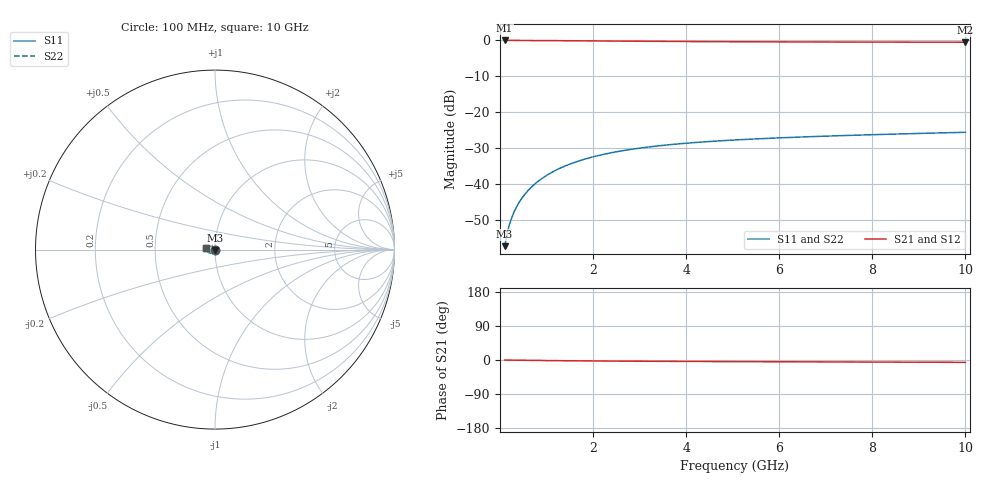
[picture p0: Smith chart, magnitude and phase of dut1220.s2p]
! Touchstone file exported from HFSS 2024.1.0
!  File:  C:/UserFiles/LocalFiles/RDL_TSV_Batchsim/temp_TSV1_1220_1780249372.aedt
!  Generated:  01:48:08 AM Jun  1, 2026
!  Design:  TSV1
!  Project:  temp_TSV1_1220_1780249372
!  Setup:  Setup1
!  Solution:  Sweep
! Variables:
!  dtsv = 9.72um
!  hbump = 3um
!  htsv = 97.35um
!  lrdl = 252.1521522um
!  p = 40
!  p1 = 55.36um
!  t = 500um
!  trdl = 3um
!  wrdl = 24.89489489um
# GHz S MA R 50.000000
! Terminal data exported
! Port[1] = TSV22_T1
! Port[2] = TSV22_T2
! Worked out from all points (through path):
!   100 points, 100 MHz to 10 GHz, reference 50 ohm
!   highest |S21| = 0.00 dB at 100 MHz (marker M1); lowest = -0.5 dB at 10 GHz (marker M2)
!   lowest |S11| = -57.2 dB at 100 MHz (marker M3), VSWR 1.00, Z = 50 - j0.137 ohm
!   |S11| at or under -10 dB: start of sweep to end of sweep
!   |S22| runs from -57.2 to -25.6 dB; largest |S21 - S12| = 4.2e-15
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0.1  0.001375 -84.7  0.9998 -0.1  0.9998 -0.1  0.001375 -84.7
! Gamma 0 0 0 0
! Port Impedance 50 0 50 0
0.2  0.002734 -90.2  0.9996 -0.3  0.9996 -0.3  0.002734 -90.2
0.3  0.004094 -93.3  0.9994 -0.4  0.9994 -0.4  0.004094 -93.3
0.4  0.005449 -95.8  0.999 -0.6  0.999 -0.6  0.005449 -95.8
0.5  0.006794 -98.1  0.9986 -0.7  0.9986 -0.7  0.006794 -98.1
0.6  0.008125 -100.3  0.9981 -0.9  0.9981 -0.9  0.008125 -100.3
0.7  0.009438 -102.4  0.9975 -1.0  0.9975 -1.0  0.009438 -102.4
0.8  0.01073 -104.5  0.9968 -1.1  0.9968 -1.1  0.01073 -104.5
0.9  0.012 -106.5  0.9961 -1.3  0.9961 -1.3  0.012 -106.5
1.1  0.01446 -110.4  0.9945 -1.5  0.9945 -1.5  0.01446 -110.4
1.4  0.01793 -115.9  0.9917 -1.9  0.9917 -1.9  0.01793 -115.9
1.6  0.02009 -119.4  0.9897 -2.1  0.9897 -2.1  0.02009 -119.4
1.8  0.02212 -122.8  0.9876 -2.3  0.9876 -2.3  0.02212 -122.8
2.1  0.02493 -127.6  0.9844 -2.6  0.9844 -2.6  0.02493 -127.6
2.5  0.02824 -133.5  0.9802 -2.9  0.9802 -2.9  0.02824 -133.5
2.9  0.03111 -139.0  0.9762 -3.2  0.9762 -3.2  0.03111 -139.0
3.4  0.03415 -145.2  0.9716 -3.5  0.9716 -3.5  0.03415 -145.2
4.2  0.03805 -153.8  0.9654 -3.9  0.9654 -3.9  0.03805 -153.8
5.1  0.04144 -162.0  0.9599 -4.3  0.9599 -4.3  0.04144 -162.0
6.7  0.04593 -174.0  0.9529 -4.9  0.9529 -4.9  0.04593 -174.0
8.4  0.04967 175.7  0.9482 -5.6  0.9482 -5.6  0.04966 175.7
10  0.05277 167.7  0.9451 -6.2  0.9451 -6.2  0.05277 167.7
